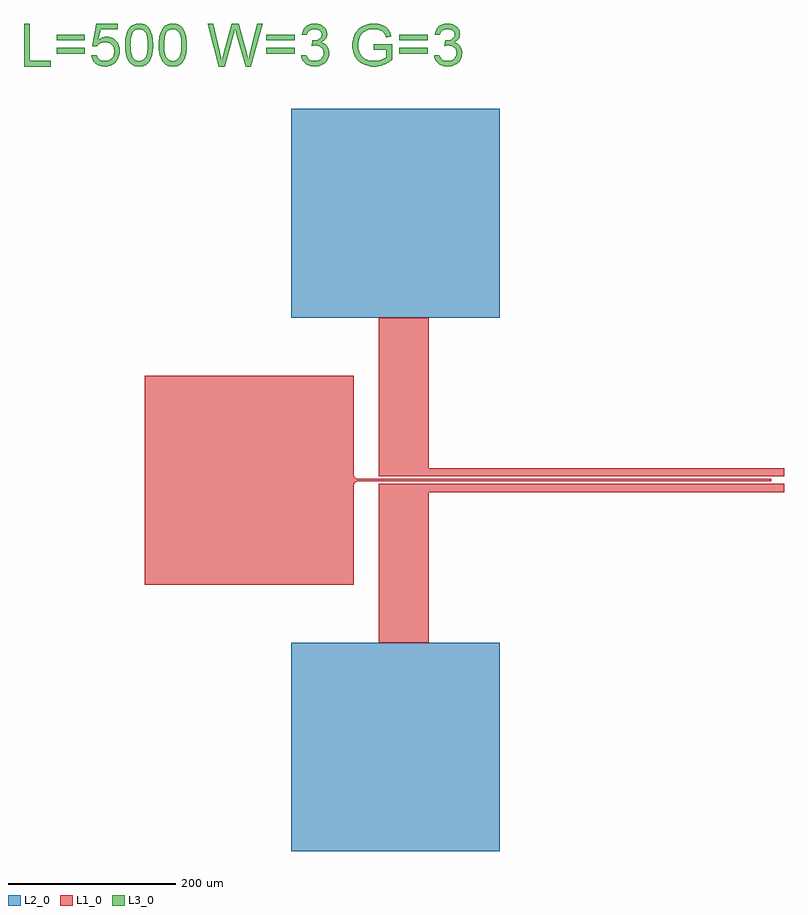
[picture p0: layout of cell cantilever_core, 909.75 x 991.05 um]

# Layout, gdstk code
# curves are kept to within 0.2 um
import gdstk
lib = gdstk.Library(unit=1e-6, precision=1e-09)
def R(c, l, rs):  # rectangles x0, y0, x1, y1
    for r in rs: c.add(gdstk.rectangle(r[:2], r[2:], *l))
def P(c, l, *ps):  # polygons
    for p in ps: c.add(gdstk.Polygon(p, *l))
L1_0 = (1, 0)
L2_0 = (2, 0)
L3_0 = (3, 0)

rectangle = lib.new_cell('rectangle')
R(rectangle, L1_0, [(0,0,250,250)])

rectangle002 = lib.new_cell('rectangle002')
R(rectangle002, L1_0, [(0,0,500,3)])

boolean = lib.new_cell('boolean')
P(boolean, L1_0, [(574.782,751.505),(573.706,751.67),(572.887,751.968),(572.132,752.404),(571.464,752.964),(570.904,753.632),(570.381,754.587),(570.076,755.632),(570,756.5),(570,751.5)])

boolean003 = lib.new_cell('boolean003')
P(boolean003, L1_0, [(570.005,743.718),(570.17,744.794),(570.468,745.613),(570.904,746.368),(571.464,747.036),(572.132,747.596),(573.087,748.119),(574.132,748.424),(575,748.5),(570,748.5)])

rectangle004 = lib.new_cell('rectangle004')
R(rectangle004, L2_0, [(0,0,250,250)])

contact_block = lib.new_cell('contact_block')
contact_block.add(gdstk.Reference(rectangle004, (0,0)))

rectangle005 = lib.new_cell('rectangle005')
R(rectangle005, L1_0, [(0,0,60,180)])

rectangle006 = lib.new_cell('rectangle006')
R(rectangle006, L1_0, [(0,0,485,10)])

electrode_structure = lib.new_cell('electrode_structure')
electrode_structure.add(gdstk.Reference(contact_block, (495,944.5)))
electrode_structure.add(gdstk.Reference(rectangle005, (600,764.5)))
electrode_structure.add(gdstk.Reference(rectangle006, (600,754.5)))

rectangle009 = lib.new_cell('rectangle009')
R(rectangle009, L2_0, [(0,0,250,250)])

contact_block008 = lib.new_cell('contact_block008')
contact_block008.add(gdstk.Reference(rectangle009, (0,0)))

rectangle010 = lib.new_cell('rectangle010')
R(rectangle010, L1_0, [(0,0,60,180)])

rectangle011 = lib.new_cell('rectangle011')
R(rectangle011, L1_0, [(0,0,485,10)])

electrode_structure007 = lib.new_cell('electrode_structure007')
electrode_structure007.add(gdstk.Reference(contact_block008, (495,305.5)))
electrode_structure007.add(gdstk.Reference(rectangle010, (600,555.5)))
electrode_structure007.add(gdstk.Reference(rectangle011, (600,735.5)))

text = lib.new_cell('text')
R(text, L3_0, [(44.31,15.665,78.24,22.425), (295.344,15.665,329.274,22.425), (454.482,15.665,488.412,22.425), (44.31,31.395,78.24,38.09), (295.344,31.395,329.274,38.09), (454.482,31.395,488.412,38.09)])
P(text, L3_0, [(5.253,0),(5.253,51.552),(12.047,51.552),(12.047,6.724),(37.333,6.724),(37.333,0)],
  [(85.908,13.448),(92.527,13.448),(93.748,10.506),(94.948,9.145),(97.057,7.8),(100.934,6.791),(104.168,6.852),(106.606,7.521),(108.791,8.764),(111.242,11.269),(112.472,13.615),(113.134,16.333),(113.26,18.351),(112.889,21.597),(111.321,25.008),(110.23,26.249),(107.88,27.917),(104.184,29.022),(99.4,28.827),(95.861,27.367),(92.947,24.655),(87.029,24.655),(92.002,51.552),(117.532,51.552),(117.532,44.828),(97.045,44.828),(94.278,31.975),(96.145,33.374),(99.015,34.89),(101.966,35.707),(103.979,35.862),(106.585,35.671),(110.178,34.667),(113.393,32.803),(115.326,31.082),(116.99,29.059),(118.793,25.614),(119.764,21.673),(119.949,18.772),(119.786,15.991),(118.933,12.109),(117.349,8.573),(115.886,6.409),(113.767,4.102),(111.988,2.708),(107.943,0.785),(105.677,0.256),(102.403,0),(97.815,0.45),(92.844,2.353),(89.348,5.245),(87.488,7.959),(86.815,9.479)],
  [(145.181,0.13),(148.171,0.715),(150.771,1.885),(152.331,2.99),(155.581,6.565),(157.076,9.36),(158.571,13.715),(159.286,17.745),(159.676,22.36),(159.611,30.615),(159.026,35.815),(158.051,39.39),(156.166,43.94),(154.541,46.41),(151.421,49.205),(148.951,50.505),(144.596,51.48),(140.826,51.415),(137.836,50.83),(133.676,48.62),(131.336,46.215),(129.646,43.68),(128.151,40.17),(127.046,35.945),(126.461,31.59),(126.266,25.805),(132.701,25.805),(132.831,30.095),(133.546,35.425),(134.846,39.52),(137.121,42.705),(139.006,44.005),(141.281,44.72),(144.661,44.655),(147.001,43.875),(149.081,42.38),(150.836,40.235),(152.006,37.44),(152.916,32.89),(153.241,28.015),(152.916,18.72),(152.526,16.25),(151.356,12.35),(150.316,10.53),(149.081,9.165),(147.001,7.67),(144.661,6.89),(142.971,6.695),(140.111,7.215),(137.901,8.32),(136.926,9.165),(135.691,10.53),(134.651,12.35),(134.001,14.105),(133.091,18.72),(132.701,25.805),(126.266,25.805),(126.461,20.41),(126.851,16.77),(128.411,10.595),(129.516,8.06),(131.336,5.2),(133.156,3.315),(136.341,1.3),(140.176,0.195)],
  [(185.526,0.13),(188.516,0.715),(191.116,1.885),(192.676,2.99),(195.926,6.565),(197.421,9.36),(198.916,13.715),(199.631,17.745),(200.021,22.36),(199.956,30.615),(199.371,35.815),(198.396,39.39),(196.511,43.94),(194.886,46.41),(191.766,49.205),(189.296,50.505),(184.941,51.48),(181.171,51.415),(178.181,50.83),(174.021,48.62),(171.681,46.215),(169.991,43.68),(168.496,40.17),(167.391,35.945),(166.806,31.59),(166.611,25.805),(173.046,25.805),(173.176,30.095),(173.891,35.425),(175.191,39.52),(177.466,42.705),(179.351,44.005),(181.626,44.72),(185.006,44.655),(187.346,43.875),(189.426,42.38),(191.181,40.235),(192.351,37.44),(193.261,32.89),(193.586,28.015),(193.261,18.72),(192.871,16.25),(191.701,12.35),(190.661,10.53),(189.426,9.165),(187.346,7.67),(185.006,6.89),(183.316,6.695),(180.456,7.215),(178.246,8.32),(177.271,9.165),(176.036,10.53),(174.996,12.35),(174.346,14.105),(173.436,18.72),(173.046,25.805),(166.611,25.805),(166.806,20.41),(167.196,16.77),(168.756,10.595),(169.861,8.06),(171.681,5.2),(173.501,3.315),(176.686,1.3),(180.521,0.195)],
  [(238.637,0),(225.013,51.552),(231.983,51.552),(241.964,7.214),(244.275,16.6),(254.046,51.552),(262.241,51.552),(270.641,21.38),(273.588,7.214),(284.2,51.552),(291.029,51.552),(276.95,0),(270.401,0),(257.969,45.318),(245.571,0)],
  [(336.977,13.448),(343.281,13.448),(344.748,10.375),(345.993,9.01),(348.065,7.733),(351.879,6.787),(355.056,6.835),(357.434,7.416),(359.563,8.495),(361.948,10.649),(363.534,13.635),(363.909,16.32),(363.561,18.898),(362.093,21.722),(359.876,23.719),(356.733,25.042),(353.108,25.328),(349.41,24.655),(350.11,31.379),(352.705,31.378),(357.055,32.408),(359.535,33.786),(360.792,35.205),(361.469,36.959),(361.504,39.396),(361.011,40.879),(360.096,42.191),(358.258,43.64),(356.563,44.364),(353.192,44.828),(349.822,44.407),(348.093,43.752),(346.153,42.407),(345.05,41.045),(343.912,38.103),(337.608,38.103),(338.777,42.236),(341.34,46.509),(344.58,49.299),(347.458,50.672),(350.695,51.411),(353.052,51.552),(357.088,51.123),(360.792,49.836),(363.913,47.804),(365.387,46.283),(366.877,43.938),(368.002,40.156),(368.005,37.588),(366.933,34.121),(365.507,32.066),(364.075,30.731),(361.002,28.928),(363.94,27.911),(366.987,25.779),(368.984,23.128),(369.968,20.772),(370.497,18.117),(370.402,13.558),(369.372,9.933),(367.46,6.677),(365.695,4.71),(363.63,3.015),(360.144,1.178),(356.192,0.188),(353.297,0),(348.847,0.459),(343.951,2.398),(340.44,5.334),(337.888,9.551)],
  [(424.041,20.172),(424.041,26.897),(445.789,26.897),(445.789,7.985),(440.702,4.492),(437.575,2.875),(433.317,1.278),(430.065,0.499),(424.531,0),(419.405,0.386),(415.282,1.332),(410.785,3.152),(406.829,5.699),(404.03,8.426),(401.452,12.24),(399.632,16.569),(398.426,22.646),(398.425,28.405),(399.624,34.586),(401.435,39.119),(403.965,43.135),(406.671,45.945),(410.453,48.487),(414.79,50.257),(418.856,51.176),(424.006,51.552),(429.307,51.105),(434.075,49.766),(438.089,47.629),(440.031,46.011),(442.105,43.439),(444.437,38.438),(445.019,36.457),(438.89,34.776),(436.682,39.584),(433.935,42.245),(429.812,44.066),(425.568,44.78),(422.228,44.775),(417.395,43.987),(414.68,42.956),(411.391,40.886),(409.709,39.193),(407.765,36.378),(406.56,33.576),(405.795,30.766),(405.304,25.776),(405.594,21.592),(406.303,18.408),(407.668,15.164),(409.587,12.442),(411.652,10.535),(416.38,8.058),(419.208,7.245),(424.146,6.724),(428.506,7.105),(431.072,7.699),(436.456,9.828),(439.135,11.522),(439.135,20.172)],
  [(496.115,13.448),(502.419,13.448),(503.886,10.375),(505.131,9.01),(507.203,7.733),(511.017,6.787),(514.194,6.835),(516.572,7.416),(518.701,8.495),(521.086,10.649),(522.671,13.635),(523.047,16.32),(522.699,18.898),(521.231,21.722),(519.014,23.719),(515.871,25.042),(512.246,25.328),(508.548,24.655),(509.248,31.379),(511.843,31.378),(516.192,32.408),(518.673,33.786),(519.93,35.205),(520.607,36.959),(520.642,39.396),(520.149,40.879),(519.234,42.191),(517.396,43.64),(515.701,44.364),(512.33,44.828),(508.959,44.407),(507.231,43.752),(505.291,42.407),(504.188,41.045),(503.05,38.103),(496.746,38.103),(497.915,42.236),(500.478,46.509),(503.718,49.299),(506.596,50.672),(509.833,51.411),(512.19,51.552),(516.226,51.123),(519.93,49.836),(523.051,47.804),(524.525,46.283),(526.015,43.938),(527.139,40.156),(527.143,37.588),(526.071,34.121),(524.645,32.066),(523.213,30.731),(520.14,28.928),(523.078,27.911),(526.125,25.779),(528.122,23.128),(529.106,20.772),(529.635,18.117),(529.54,13.558),(528.51,9.933),(526.598,6.677),(524.833,4.71),(522.768,3.015),(519.282,1.178),(515.33,0.188),(512.435,0),(507.985,0.459),(503.089,2.398),(499.578,5.334),(497.026,9.551)])

cantilever_core = lib.new_cell('cantilever_core')
cantilever_core.add(gdstk.Reference(rectangle, (320,625)))
cantilever_core.add(gdstk.Reference(rectangle002, (570,748.5)))
cantilever_core.add(gdstk.Reference(boolean, (0,0)))
cantilever_core.add(gdstk.Reference(boolean003, (0,0)))
cantilever_core.add(gdstk.Reference(electrode_structure, (0,0)))
cantilever_core.add(gdstk.Reference(electrode_structure007, (0,0)))
cantilever_core.add(gdstk.Reference(text, (170,1245)))

lib.write_gds('cantilever_core.gds')
